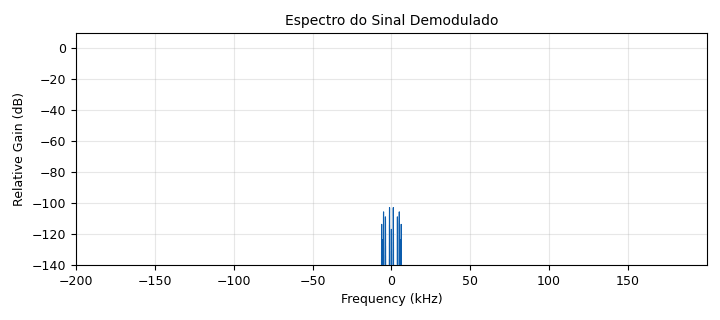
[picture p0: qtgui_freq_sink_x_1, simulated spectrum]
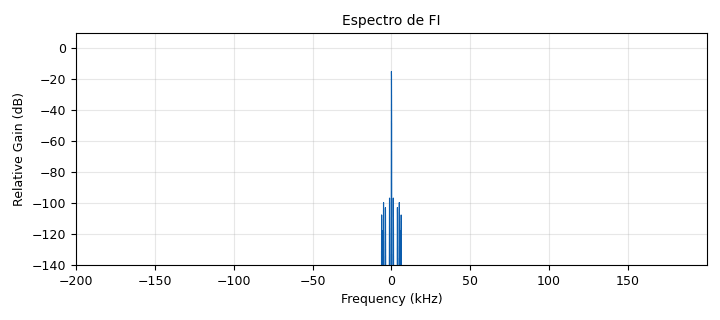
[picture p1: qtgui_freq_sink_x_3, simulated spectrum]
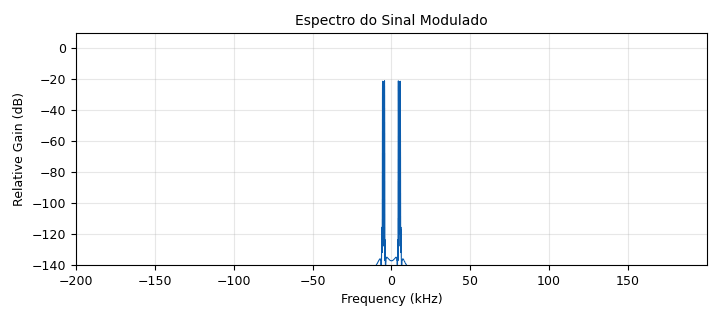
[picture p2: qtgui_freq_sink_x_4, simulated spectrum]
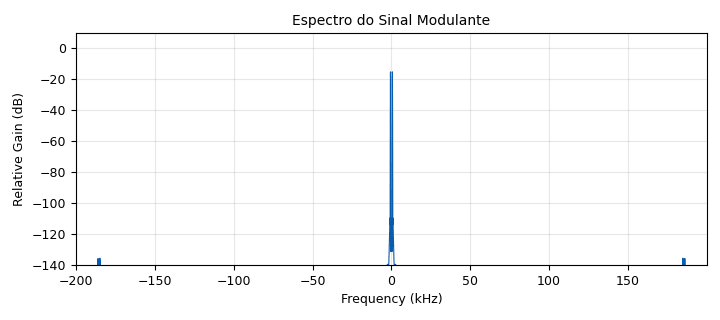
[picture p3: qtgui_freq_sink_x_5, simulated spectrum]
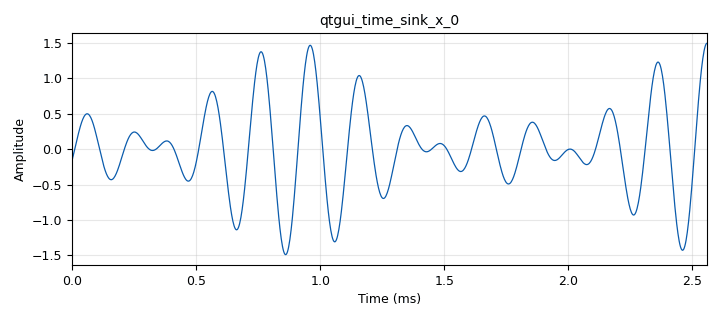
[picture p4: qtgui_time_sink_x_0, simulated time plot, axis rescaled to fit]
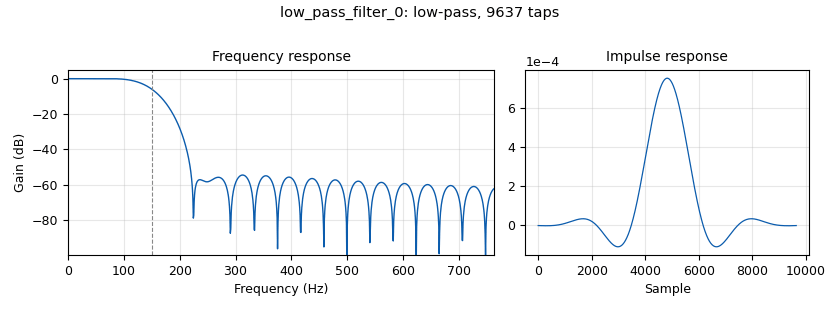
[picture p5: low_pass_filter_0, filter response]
<?xml version='1.0' encoding='utf-8'?>
<?grc format='1' created='3.7.11'?>
<flow_graph>
<block>
<key>options</key>
<param><key>id</key><value>Labo3_1d</value></param>
<param><key>category</key><value>Custom</value></param>
<param><key>generate_options</key><value>qt_gui</value></param>
<param><key>title</key><value>Receptor AM super-heterodino</value></param>
</block>
<block>
<key>variable</key>
<param><key>id</key><value>audio_rate</value></param>
<param><key>value</key><value>32000</value></param>
</block>
<block>
<key>variable</key>
<param><key>id</key><value>fi</value></param>
<param><key>value</key><value>455</value></param>
</block>
<block>
<key>variable_qtgui_range</key>
<param><key>id</key><value>portadora</value></param>
<param><key>value</key><value>5e3</value></param>
<param><key>label</key><value>Portadora</value></param>
<param><key>orient</key><value>Qt.Horizontal</value></param>
<param><key>start</key><value>1e3</value></param>
<param><key>step</key><value>1e3</value></param>
<param><key>stop</key><value>105e3</value></param>
</block>
<block>
<key>variable</key>
<param><key>id</key><value>samp_rate</value></param>
<param><key>value</key><value>4e5</value></param>
</block>
<block>
<key>variable_qtgui_range</key>
<param><key>id</key><value>sintonia</value></param>
<param><key>value</key><value>145</value></param>
<param><key>label</key><value>Sintonia</value></param>
<param><key>orient</key><value>Qt.Horizontal</value></param>
<param><key>start</key><value>50</value></param>
<param><key>step</key><value>5</value></param>
<param><key>stop</key><value>200</value></param>
</block>
<block>
<key>analog_const_source_x</key>
<param><key>id</key><value>Amplitude_Portadora</value></param>
<param><key>const</key><value>0.5</value></param>
<param><key>type</key><value>float</value></param>
</block>
<block>
<key>analog_sig_source_x</key>
<param><key>id</key><value>Portadora</value></param>
<param><key>amp</key><value>1</value></param>
<param><key>freq</key><value>portadora</value></param>
<param><key>offset</key><value>0</value></param>
<param><key>type</key><value>float</value></param>
<param><key>samp_rate</key><value>samp_rate</value></param>
<param><key>waveform</key><value>analog.GR_COS_WAVE</value></param>
</block>
<block>
<key>analog_sig_source_x</key>
<param><key>id</key><value>Sinal_Modulante</value></param>
<param><key>amp</key><value>1</value></param>
<param><key>freq</key><value>600</value></param>
<param><key>offset</key><value>0</value></param>
<param><key>type</key><value>float</value></param>
<param><key>samp_rate</key><value>samp_rate</value></param>
<param><key>waveform</key><value>analog.GR_COS_WAVE</value></param>
</block>
<block>
<key>analog_agc_xx</key>
<param><key>id</key><value>analog_agc_xx_0_0</value></param>
<param><key>gain</key><value>1.0</value></param>
<param><key>max_gain</key><value>65536</value></param>
<param><key>rate</key><value>1e-3</value></param>
<param><key>reference</key><value>0.05</value></param>
<param><key>type</key><value>float</value></param>
</block>
<block>
<key>analog_am_demod_cf</key>
<param><key>id</key><value>analog_am_demod_cf_0</value></param>
<param><key>audio_decim</key><value>1</value></param>
<param><key>audio_pass</key><value>10e3</value></param>
<param><key>audio_stop</key><value>10500</value></param>
<param><key>chan_rate</key><value>samp_rate</value></param>
</block>
<block>
<key>audio_sink</key>
<param><key>id</key><value>audio_sink_0</value></param>
<param><key>samp_rate</key><value>32000</value></param>
</block>
<block>
<key>blocks_add_xx</key>
<param><key>id</key><value>blocks_add_xx_0</value></param>
<param><key>type</key><value>float</value></param>
</block>
<block>
<key>blocks_add_xx</key>
<param><key>id</key><value>blocks_add_xx_0_0</value></param>
<param><key>type</key><value>float</value></param>
</block>
<block>
<key>blocks_float_to_complex</key>
<param><key>id</key><value>blocks_float_to_complex_0</value></param>
</block>
<block>
<key>blocks_multiply_xx</key>
<param><key>id</key><value>blocks_multiply_xx_0</value></param>
<param><key>type</key><value>float</value></param>
</block>
<block>
<key>blocks_multiply_xx</key>
<param><key>id</key><value>blocks_multiply_xx_0_0</value></param>
<param><key>type</key><value>float</value></param>
</block>
<block>
<key>blocks_throttle</key>
<param><key>id</key><value>blocks_throttle_0</value></param>
<param><key>samples_per_second</key><value>samp_rate</value></param>
<param><key>type</key><value>float</value></param>
</block>
<block>
<key>dc_blocker_xx</key>
<param><key>id</key><value>dc_blocker_xx_0_0</value></param>
<param><key>length</key><value>600</value></param>
<param><key>long_form</key><value>True</value></param>
<param><key>type</key><value>ff</value></param>
</block>
<block>
<key>low_pass_filter</key>
<param><key>id</key><value>low_pass_filter_0</value></param>
<param><key>cutoff_freq</key><value>150</value></param>
<param><key>decim</key><value>1</value></param>
<param><key>type</key><value>fir_filter_fff</value></param>
<param><key>gain</key><value>1</value></param>
<param><key>samp_rate</key><value>samp_rate</value></param>
<param><key>width</key><value>100</value></param>
<param><key>win</key><value>firdes.WIN_HAMMING</value></param>
</block>
<block>
<key>analog_sig_source_x</key>
<param><key>id</key><value>oscilador_local</value></param>
<param><key>amp</key><value>1</value></param>
<param><key>freq</key><value>sintonia+fi</value></param>
<param><key>offset</key><value>0</value></param>
<param><key>type</key><value>float</value></param>
<param><key>samp_rate</key><value>samp_rate</value></param>
<param><key>waveform</key><value>analog.GR_COS_WAVE</value></param>
</block>
<block>
<key>analog_sig_source_x</key>
<param><key>id</key><value>oscilador_local_0</value></param>
<param><key>amp</key><value>1</value></param>
<param><key>freq</key><value>sintonia+fi</value></param>
<param><key>offset</key><value>0</value></param>
<param><key>type</key><value>float</value></param>
<param><key>samp_rate</key><value>samp_rate</value></param>
<param><key>waveform</key><value>analog.GR_COS_WAVE</value></param>
</block>
<block>
<key>qtgui_freq_sink_x</key>
<param><key>id</key><value>qtgui_freq_sink_x_1</value></param>
<param><key>bw</key><value>samp_rate</value></param>
<param><key>fc</key><value>0</value></param>
<param><key>fftsize</key><value>2**13</value></param>
<param><key>name</key><value>Espectro do Sinal Demodulado</value></param>
<param><key>showports</key><value>True</value></param>
<param><key>type</key><value>float</value></param>
<param><key>wintype</key><value>firdes.WIN_BLACKMAN_hARRIS</value></param>
</block>
<block>
<key>qtgui_freq_sink_x</key>
<param><key>id</key><value>qtgui_freq_sink_x_3</value></param>
<param><key>bw</key><value>samp_rate</value></param>
<param><key>fc</key><value>0</value></param>
<param><key>fftsize</key><value>2**13</value></param>
<param><key>name</key><value>Espectro de FI</value></param>
<param><key>showports</key><value>True</value></param>
<param><key>type</key><value>float</value></param>
<param><key>wintype</key><value>firdes.WIN_BLACKMAN_hARRIS</value></param>
</block>
<block>
<key>qtgui_freq_sink_x</key>
<param><key>id</key><value>qtgui_freq_sink_x_4</value></param>
<param><key>bw</key><value>samp_rate</value></param>
<param><key>fc</key><value>0</value></param>
<param><key>fftsize</key><value>2**13</value></param>
<param><key>name</key><value>Espectro do Sinal Modulado</value></param>
<param><key>showports</key><value>True</value></param>
<param><key>type</key><value>float</value></param>
<param><key>wintype</key><value>firdes.WIN_BLACKMAN_hARRIS</value></param>
</block>
<block>
<key>qtgui_freq_sink_x</key>
<param><key>id</key><value>qtgui_freq_sink_x_5</value></param>
<param><key>bw</key><value>samp_rate</value></param>
<param><key>fc</key><value>0</value></param>
<param><key>fftsize</key><value>2**13</value></param>
<param><key>name</key><value>Espectro do Sinal Modulante</value></param>
<param><key>showports</key><value>True</value></param>
<param><key>type</key><value>float</value></param>
<param><key>wintype</key><value>firdes.WIN_BLACKMAN_hARRIS</value></param>
</block>
<block>
<key>qtgui_time_sink_x</key>
<param><key>id</key><value>qtgui_time_sink_x_0</value></param>
<param><key>color1</key><value>"blue"</value></param>
<param><key>label1</key><value></value></param>
<param><key>size</key><value>1024</value></param>
<param><key>srate</key><value>samp_rate</value></param>
<param><key>type</key><value>float</value></param>
</block>
<connection><source_block_id>Amplitude_Portadora</source_block_id><sink_block_id>blocks_add_xx_0</sink_block_id><source_key>0</source_key><sink_key>1</sink_key></connection>
<connection><source_block_id>Portadora</source_block_id><sink_block_id>blocks_throttle_0</sink_block_id><source_key>0</source_key><sink_key>0</sink_key></connection>
<connection><source_block_id>Sinal_Modulante</source_block_id><sink_block_id>blocks_add_xx_0</sink_block_id><source_key>0</source_key><sink_key>0</sink_key></connection>
<connection><source_block_id>Sinal_Modulante</source_block_id><sink_block_id>qtgui_freq_sink_x_5</sink_block_id><source_key>0</source_key><sink_key>0</sink_key></connection>
<connection><source_block_id>analog_agc_xx_0_0</source_block_id><sink_block_id>audio_sink_0</sink_block_id><source_key>0</source_key><sink_key>0</sink_key></connection>
<connection><source_block_id>analog_am_demod_cf_0</source_block_id><sink_block_id>dc_blocker_xx_0_0</sink_block_id><source_key>0</source_key><sink_key>0</sink_key></connection>
<connection><source_block_id>blocks_add_xx_0</source_block_id><sink_block_id>blocks_multiply_xx_0</sink_block_id><source_key>0</source_key><sink_key>0</sink_key></connection>
<connection><source_block_id>blocks_add_xx_0_0</source_block_id><sink_block_id>blocks_multiply_xx_0_0</sink_block_id><source_key>0</source_key><sink_key>1</sink_key></connection>
<connection><source_block_id>blocks_float_to_complex_0</source_block_id><sink_block_id>analog_am_demod_cf_0</sink_block_id><source_key>0</source_key><sink_key>0</sink_key></connection>
<connection><source_block_id>blocks_multiply_xx_0</source_block_id><sink_block_id>blocks_add_xx_0_0</sink_block_id><source_key>0</source_key><sink_key>1</sink_key></connection>
<connection><source_block_id>blocks_multiply_xx_0</source_block_id><sink_block_id>qtgui_freq_sink_x_4</sink_block_id><source_key>0</source_key><sink_key>0</sink_key></connection>
<connection><source_block_id>blocks_multiply_xx_0</source_block_id><sink_block_id>qtgui_time_sink_x_0</sink_block_id><source_key>0</source_key><sink_key>0</sink_key></connection>
<connection><source_block_id>blocks_multiply_xx_0_0</source_block_id><sink_block_id>low_pass_filter_0</sink_block_id><source_key>0</source_key><sink_key>0</sink_key></connection>
<connection><source_block_id>blocks_throttle_0</source_block_id><sink_block_id>blocks_multiply_xx_0</sink_block_id><source_key>0</source_key><sink_key>1</sink_key></connection>
<connection><source_block_id>dc_blocker_xx_0_0</source_block_id><sink_block_id>analog_agc_xx_0_0</sink_block_id><source_key>0</source_key><sink_key>0</sink_key></connection>
<connection><source_block_id>dc_blocker_xx_0_0</source_block_id><sink_block_id>qtgui_freq_sink_x_1</sink_block_id><source_key>0</source_key><sink_key>0</sink_key></connection>
<connection><source_block_id>low_pass_filter_0</source_block_id><sink_block_id>blocks_float_to_complex_0</sink_block_id><source_key>0</source_key><sink_key>0</sink_key></connection>
<connection><source_block_id>low_pass_filter_0</source_block_id><sink_block_id>qtgui_freq_sink_x_3</sink_block_id><source_key>0</source_key><sink_key>0</sink_key></connection>
<connection><source_block_id>oscilador_local</source_block_id><sink_block_id>blocks_multiply_xx_0_0</sink_block_id><source_key>0</source_key><sink_key>0</sink_key></connection>
<connection><source_block_id>oscilador_local_0</source_block_id><sink_block_id>blocks_add_xx_0_0</sink_block_id><source_key>0</source_key><sink_key>0</sink_key></connection>
</flow_graph>
